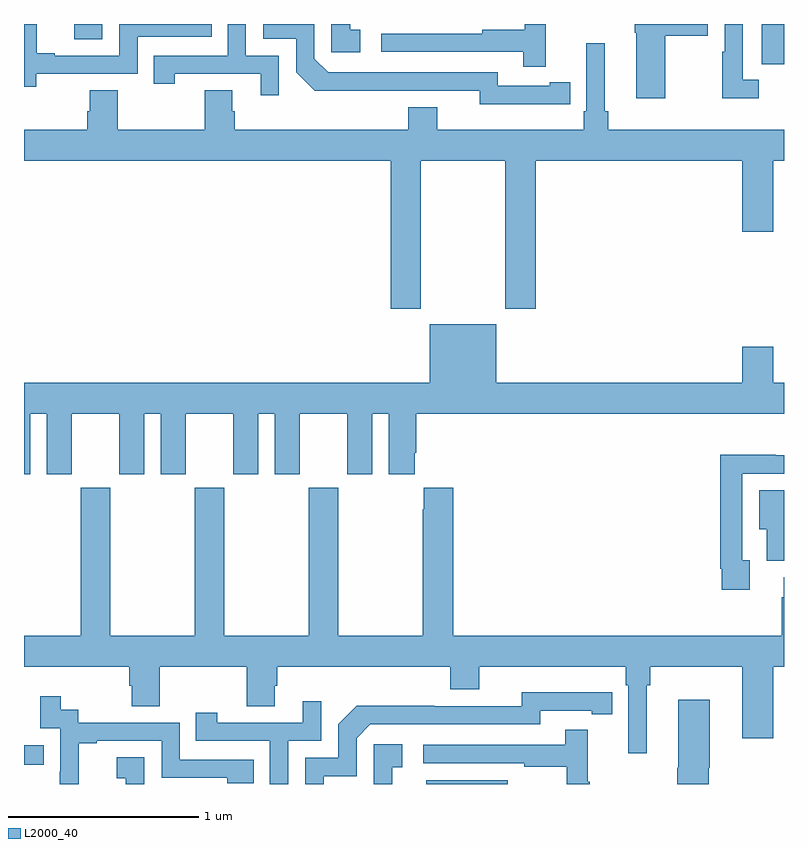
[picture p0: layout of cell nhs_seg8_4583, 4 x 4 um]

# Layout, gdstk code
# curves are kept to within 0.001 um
import gdstk
lib = gdstk.Library(unit=1e-6, precision=1e-09)
def R(c, l, rs):  # rectangles x0, y0, x1, y1
    for r in rs: c.add(gdstk.rectangle(r[:2], r[2:], *l))
def P(c, l, *ps):  # polygons
    for p in ps: c.add(gdstk.Polygon(p, *l))
L2000_40 = (2000, 40)

nhs_seg8_4583 = lib.new_cell('nhs_seg8_4583')
R(nhs_seg8_4583, L2000_40, [(391.118,1099.9,391.546,1099.921), (389,1100.002,389.105,1100.103), (392.882,1103.688,393,1103.9), (389.265,1103.82,389.412,1103.9)])
P(nhs_seg8_4583, L2000_40, [(392.866,1103.607),(392.784,1103.607),(392.784,1103.9),(392.688,1103.9),(392.688,1103.753),(392.676,1103.753),(392.676,1103.51),(392.866,1103.51)],
  [(391.745,1103.9),(391.635,1103.9),(391.635,1103.87),(391.411,1103.87),(391.411,1103.85),(390.879,1103.85),(390.879,1103.754),(391.627,1103.754),(391.627,1103.676),(391.745,1103.676)],
  [(391.766,1103.478),(391.874,1103.478),(391.874,1103.594),(391.766,1103.594),(391.766,1103.574),(391.494,1103.574),(391.494,1103.646),(390.6,1103.646),(390.528,1103.718),(390.528,1103.9),(390.258,1103.9),(390.258,1103.823),(390.432,1103.823),(390.432,1103.646),(390.53,1103.549),(391.398,1103.55),(391.398,1103.477)],
  [(390.769,1103.871),(390.716,1103.871),(390.716,1103.9),(390.618,1103.9),(390.618,1103.751),(390.769,1103.751)],
  [(390.342,1103.733),(390.168,1103.733),(390.168,1103.9),(390.072,1103.9),(390.072,1103.733),(389.683,1103.733),(389.683,1103.586),(389.794,1103.586),(389.794,1103.637),(390.245,1103.637),(390.245,1103.526),(390.342,1103.526)],
  [(389.064,1103.637),(389.598,1103.637),(389.598,1103.832),(389.987,1103.832),(389.987,1103.9),(389.502,1103.9),(389.502,1103.733),(389.161,1103.733),(389.161,1103.746),(389.066,1103.746),(389.066,1103.9),(389,1103.9),(389,1103.569),(389.064,1103.569)],
  [(392.376,1103.837),(392.599,1103.837),(392.599,1103.9),(392.215,1103.9),(392.215,1103.853),(392.222,1103.853),(392.222,1103.508),(392.376,1103.508)],
  [(391.089,1103.18),(391.534,1103.18),(391.534,1102.401),(391.694,1102.401),(391.694,1103.18),(392.78,1103.18),(392.78,1102.806),(392.944,1102.806),(392.944,1103.18),(393,1103.18),(393,1103.344),(392.075,1103.344),(392.075,1103.44),(392.056,1103.44),(392.056,1103.8),(391.959,1103.8),(391.959,1103.44),(391.946,1103.44),(391.946,1103.344),(391.174,1103.344),(391.174,1103.461),(391.022,1103.461),(391.022,1103.344),(390.11,1103.344),(390.11,1103.442),(390.097,1103.442),(390.097,1103.552),(389.95,1103.552),(389.95,1103.344),(389.493,1103.344),(389.493,1103.552),(389.345,1103.552),(389.345,1103.442),(389.333,1103.442),(389.333,1103.344),(389,1103.344),(389,1103.18),(390.929,1103.18),(390.929,1102.401),(391.089,1102.401)],
  [(389.032,1101.848),(389.12,1101.848),(389.12,1101.531),(389.251,1101.531),(389.251,1101.848),(389.501,1101.848),(389.501,1101.531),(389.632,1101.531),(389.632,1101.848),(389.72,1101.848),(389.72,1101.531),(389.851,1101.531),(389.851,1101.848),(390.101,1101.848),(390.101,1101.531),(390.232,1101.531),(390.232,1101.848),(390.32,1101.848),(390.32,1101.531),(390.451,1101.531),(390.451,1101.848),(390.701,1101.848),(390.701,1101.531),(390.832,1101.531),(390.832,1101.848),(390.92,1101.848),(390.92,1101.531),(391.057,1101.531),(391.057,1101.643),(391.064,1101.643),(391.064,1101.848),(393,1101.848),(393,1102.012),(392.944,1102.012),(392.944,1102.201),(392.78,1102.201),(392.78,1102.012),(391.486,1102.012),(391.486,1102.321),(391.136,1102.321),(391.136,1102.012),(389,1102.012),(389,1101.531),(389.032,1101.531)],
  [(392.821,1101.078),(392.781,1101.078),(392.781,1101.534),(393,1101.534),(393,1101.63),(392.957,1101.63),(392.957,1101.632),(392.665,1101.632),(392.665,1101.034),(392.673,1101.034),(392.673,1100.922),(392.821,1100.922)],
  [(392.278,1100.42),(392.297,1100.42),(392.297,1100.516),(392.78,1100.516),(392.78,1100.142),(392.944,1100.142),(392.944,1100.516),(393,1100.516),(393,1100.989),(392.999,1100.989),(392.999,1100.882),(392.987,1100.882),(392.987,1100.68),(391.259,1100.68),(391.259,1101.46),(391.103,1101.46),(391.103,1101.347),(391.099,1101.347),(391.099,1100.68),(390.654,1100.68),(390.654,1101.46),(390.499,1101.46),(390.499,1100.68),(390.054,1100.68),(390.054,1101.46),(389.899,1101.46),(389.899,1100.68),(389.454,1100.68),(389.454,1101.46),(389.299,1101.46),(389.299,1100.68),(389,1100.68),(389,1100.516),(389.555,1100.516),(389.555,1100.418),(389.567,1100.418),(389.567,1100.308),(389.715,1100.308),(389.715,1100.516),(390.172,1100.516),(390.172,1100.308),(390.319,1100.308),(390.319,1100.418),(390.332,1100.418),(390.332,1100.516),(391.244,1100.516),(391.244,1100.399),(391.396,1100.399),(391.396,1100.516),(392.168,1100.516),(392.168,1100.42),(392.181,1100.42),(392.181,1100.061),(392.278,1100.061)],
  [(393,1101.445),(392.87,1101.445),(392.87,1101.242),(392.909,1101.242),(392.909,1101.074),(393,1101.074)],
  [(390.577,1099.941),(390.75,1099.941),(390.75,1100.142),(390.822,1100.214),(391.716,1100.214),(391.716,1100.286),(391.988,1100.286),(391.988,1100.266),(392.096,1100.266),(392.096,1100.382),(391.62,1100.383),(391.62,1100.31),(391.16,1100.31),(391.16,1100.312),(390.752,1100.312),(390.654,1100.214),(390.654,1100.037),(390.48,1100.037),(390.48,1099.9),(390.577,1099.9)],
  [(389.288,1100.115),(389.383,1100.115),(389.383,1100.127),(389.724,1100.127),(389.724,1099.932),(390.069,1099.932),(390.069,1099.905),(390.209,1099.905),(390.209,1100.028),(389.82,1100.028),(389.82,1100.223),(389.286,1100.223),(389.286,1100.292),(389.194,1100.292),(389.194,1100.362),(389.085,1100.362),(389.085,1100.193),(389.19,1100.193),(389.19,1099.964),(389.189,1099.964),(389.189,1099.9),(389.288,1099.9)],
  [(392.603,1099.986),(392.608,1099.986),(392.608,1100.344),(392.444,1100.344),(392.444,1099.986),(392.437,1099.986),(392.437,1099.9),(392.603,1099.9)],
  [(390.39,1100.127),(390.564,1100.127),(390.564,1100.335),(390.467,1100.335),(390.467,1100.223),(390.016,1100.223),(390.016,1100.275),(389.905,1100.275),(389.905,1100.127),(390.294,1100.127),(390.294,1099.9),(390.39,1099.9)],
  [(391.978,1099.913),(391.967,1099.913),(391.967,1100.185),(391.849,1100.185),(391.849,1100.106),(391.101,1100.106),(391.101,1100.01),(391.633,1100.01),(391.633,1099.99),(391.857,1099.99),(391.857,1099.9),(391.978,1099.9)],
  [(390.938,1099.989),(390.991,1099.989),(390.991,1100.11),(390.84,1100.11),(390.84,1099.9),(390.938,1099.9)],
  [(389.634,1100.041),(389.487,1100.041),(389.487,1099.931),(389.536,1099.931),(389.536,1099.9),(389.634,1099.9)])

lib.write_gds('nhs_seg8_4583.gds')
